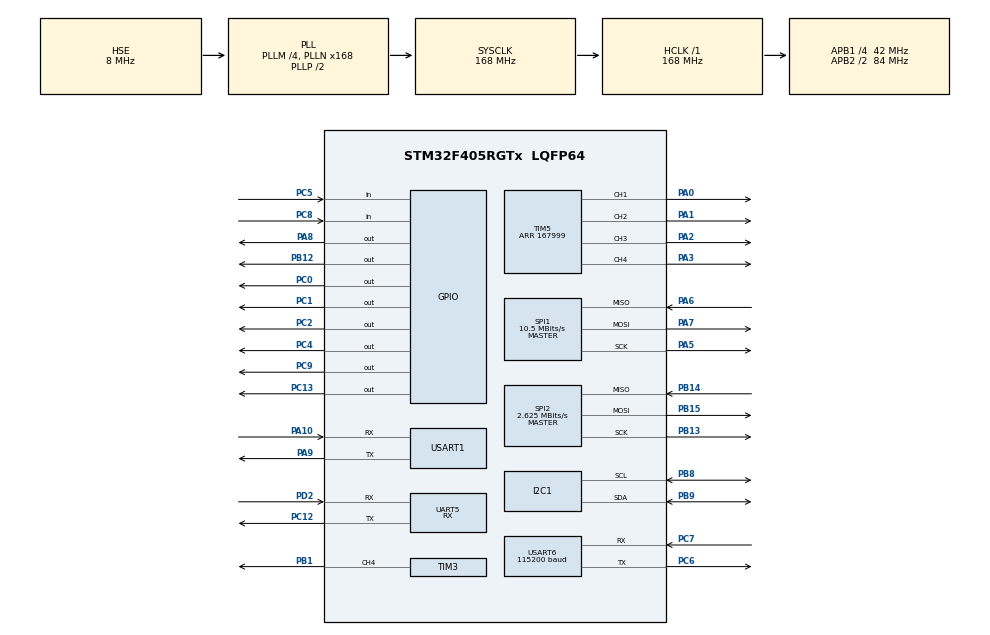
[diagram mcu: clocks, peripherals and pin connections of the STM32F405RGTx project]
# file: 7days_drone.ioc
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I2C1.I2C_Mode=I2C_Fast
Mcu.Family=STM32F4
Mcu.Name=STM32F405RGTx
Mcu.Package=LQFP64
NVIC.PriorityGroup=NVIC_PRIORITYGROUP_4
NVIC.TIM7_IRQn=true\:0\:0\:false\:false\:true\:true\:true
NVIC.UART5_IRQn=true\:0\:0\:false\:false\:true\:true\:true
NVIC.USART1_IRQn=true\:0\:0\:false\:false\:true\:true\:true
NVIC.USART6_IRQn=true\:0\:0\:false\:false\:true\:true\:true
PA0-WKUP.Signal=S_TIM5_CH1
PA1.Signal=S_TIM5_CH2
PA10.Mode=Asynchronous
PA10.Signal=USART1_RX
PA2.Signal=S_TIM5_CH3
PA3.Signal=S_TIM5_CH4
PA5.Mode=Full_Duplex_Master
PA5.Signal=SPI1_SCK
PA6.Mode=Full_Duplex_Master
PA6.Signal=SPI1_MISO
PA7.Mode=Full_Duplex_Master
PA7.Signal=SPI1_MOSI
PA8.Signal=GPIO_Output
PA9.Mode=Asynchronous
PA9.Signal=USART1_TX
PB1.Signal=S_TIM3_CH4
PB12.Signal=GPIO_Output
PB13.Mode=Full_Duplex_Master
PB13.Signal=SPI2_SCK
PB14.Mode=Full_Duplex_Master
PB14.Signal=SPI2_MISO
PB15.Mode=Full_Duplex_Master
PB15.Signal=SPI2_MOSI
PB8.Mode=I2C
PB8.Signal=I2C1_SCL
PB9.Mode=I2C
PB9.Signal=I2C1_SDA
PC0.Signal=GPIO_Output
PC1.Signal=GPIO_Output
PC12.Mode=Asynchronous
PC12.Signal=UART5_TX
PC13-ANTI_TAMP.PinState=GPIO_PIN_SET
PC13-ANTI_TAMP.Signal=GPIO_Output
PC2.Signal=GPIO_Output
PC4.Signal=GPIO_Output
PC5.Signal=GPIO_Input
PC6.Mode=Asynchronous
PC6.Signal=USART6_TX
PC7.Mode=Asynchronous
PC7.Signal=USART6_RX
PC8.Signal=GPIO_Input
PC9.Signal=GPIO_Output
PD2.Mode=Asynchronous
PD2.Signal=UART5_RX
PH0-OSC_IN.Mode=HSE-External-Oscillator
PH0-OSC_IN.Signal=RCC_OSC_IN
PH1-OSC_OUT.Mode=HSE-External-Oscillator
PH1-OSC_OUT.Signal=RCC_OSC_OUT
ProjectManager.HeapSize=0x200
ProjectManager.StackSize=0x400
ProjectManager.TargetToolchain=STM32CubeIDE
RCC.48MHZClocksFreq_Value=84000000
RCC.AHBFreq_Value=168000000
RCC.APB1CLKDivider=RCC_HCLK_DIV4
RCC.APB1Freq_Value=42000000
RCC.APB1TimFreq_Value=84000000
RCC.APB2CLKDivider=RCC_HCLK_DIV2
RCC.APB2Freq_Value=84000000
RCC.APB2TimFreq_Value=168000000
RCC.CortexFreq_Value=168000000
RCC.HCLKFreq_Value=168000000
RCC.HSE_VALUE=8000000
RCC.HSI_VALUE=16000000
RCC.LSE_VALUE=32768
RCC.PLLM=4
RCC.PLLN=168
RCC.PLLSourceVirtual=RCC_PLLSOURCE_HSE
RCC.SYSCLKFreq_VALUE=168000000
RCC.SYSCLKSource=RCC_SYSCLKSOURCE_PLLCLK
RCC.VCOOutputFreq_Value=336000000
SH.S_TIM3_CH4.0=TIM3_CH4,PWM Generation4 CH4
SH.S_TIM5_CH1.0=TIM5_CH1,PWM Generation1 CH1
SH.S_TIM5_CH2.0=TIM5_CH2,PWM Generation2 CH2
SH.S_TIM5_CH3.0=TIM5_CH3,PWM Generation3 CH3
SH.S_TIM5_CH4.0=TIM5_CH4,PWM Generation4 CH4
SPI1.BaudRatePrescaler=SPI_BAUDRATEPRESCALER_8
SPI1.CLKPhase=SPI_PHASE_2EDGE
SPI1.CLKPolarity=SPI_POLARITY_HIGH
SPI1.CalculateBaudRate=10.5 MBits/s
SPI1.Direction=SPI_DIRECTION_2LINES
SPI1.Mode=SPI_MODE_MASTER
SPI1.VirtualType=VM_MASTER
SPI2.BaudRatePrescaler=SPI_BAUDRATEPRESCALER_16
SPI2.CLKPhase=SPI_PHASE_2EDGE
SPI2.CLKPolarity=SPI_POLARITY_HIGH
SPI2.CalculateBaudRate=2.625 MBits/s
SPI2.Direction=SPI_DIRECTION_2LINES
SPI2.Mode=SPI_MODE_MASTER
SPI2.VirtualType=VM_MASTER
TIM3.AutoReloadPreload=TIM_AUTORELOAD_PRELOAD_ENABLE
TIM3.Channel-PWM\ Generation4\ CH4=TIM_CHANNEL_4
TIM3.OCFastMode_PWM-PWM\ Generation4\ CH4=TIM_OCFAST_ENABLE
TIM3.Period=20
TIM3.Prescaler=999
TIM3.Pulse-PWM\ Generation4\ CH4=10
TIM5.AutoReloadPreload=TIM_AUTORELOAD_PRELOAD_ENABLE
TIM5.Channel-PWM\ Generation1\ CH1=TIM_CHANNEL_1
TIM5.Channel-PWM\ Generation2\ CH2=TIM_CHANNEL_2
TIM5.Channel-PWM\ Generation3\ CH3=TIM_CHANNEL_3
TIM5.Channel-PWM\ Generation4\ CH4=TIM_CHANNEL_4
TIM5.OCFastMode_PWM-PWM\ Generation1\ CH1=TIM_OCFAST_ENABLE
TIM5.OCFastMode_PWM-PWM\ Generation2\ CH2=TIM_OCFAST_ENABLE
TIM5.OCFastMode_PWM-PWM\ Generation3\ CH3=TIM_OCFAST_ENABLE
TIM5.OCFastMode_PWM-PWM\ Generation4\ CH4=TIM_OCFAST_ENABLE
TIM5.Period=167999
TIM5.Pulse-PWM\ Generation1\ CH1=0
TIM5.Pulse-PWM\ Generation2\ CH2=0
TIM5.Pulse-PWM\ Generation3\ CH3=0
TIM5.Pulse-PWM\ Generation4\ CH4=0
TIM7.AutoReloadPreload=TIM_AUTORELOAD_PRELOAD_ENABLE
TIM7.Period=1
TIM7.Prescaler=41999
UART5.Mode=MODE_RX
UART5.VirtualMode=Asynchronous
USART1.VirtualMode=VM_ASYNC
USART6.BaudRate=115200
USART6.VirtualMode=VM_ASYNC
VP_TIM3_VS_ClockSourceINT.Mode=Internal
VP_TIM5_VS_ClockSourceINT.Mode=Internal
VP_TIM7_VS_ClockSourceINT.Mode=Enable_Timer
board=custom

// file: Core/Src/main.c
/* USER CODE BEGIN Header */
/**
 ******************************************************************************
 * @file           : main.c
 * @brief          : Main program body
 ******************************************************************************
 * @attention
 *
 * Copyright (c) 2023 STMicroelectronics.
 * All rights reserved.
 *
 * This software is licensed under terms that can be found in the LICENSE file
 * in the root directory of this software component.
 * If no LICENSE file comes with this software, it is provided AS-IS.
 *
 ******************************************************************************
 */
/* USER CODE END Header */
#include "main.h"
#include "i2c.h"
#include "spi.h"
#include "tim.h"
#include "usart.h"
#include "gpio.h"

/* USER CODE BEGIN Includes */
#include "BNO080.h"
#include "Quaternion.h"
#include "ICM20602.h"
#include "FS-iA6B.h"
#include "AT24C08.h"
#include <string.h>
#include "PID control.h"
/* USER CODE END Includes */

/* USER CODE BEGIN PTD */
int _write(int file, char* p, int len)
{
	for(int i = 0; i<len; i++)
	{
		while(!LL_USART_IsActiveFlag_TXE(USART6));
		LL_USART_TransmitData8(USART6, *(p+i));
		HAL_Delay(1);

	}
	return len;
}
/* USER CODE END PTD */

/* USER CODE BEGIN PD */
#define CCR_MAX 167999
#define CCR_MIN 87000
#define MOTOR_MAX 167000
#define MOTOR_MIN 89000
/* USER CODE END PD */

/* USER CODE BEGIN PV */
extern uint8_t uart6_rx_flag;
extern uint8_t uart6_rx_data;

extern uint8_t ibus_rx_buf[32];
extern uint8_t ibus_rx_cplt_flag;

extern uint8_t uart1_rx_data;

extern uint8_t tim7_1ms_flag;
extern uint8_t tim7_2ms_flag;
extern uint8_t tim7_10ms_flag;
extern uint8_t tim7_20ms_flag;
extern uint8_t tim7_100ms_flag;
extern uint8_t tim7_1000ms_flag;

uint8_t telemetry_tx_buf[20];
uint8_t telemetry_rx_buf[20];
uint8_t telemetry_rx_cplt_flag;

unsigned char failsafe_flag = 0;

/* USER CODE END PV */

void SystemClock_Config(void);
/* USER CODE BEGIN PFP */
int Is_iBus_Throttle_Min(void);
void ESC_Calibration(void);
int Is_iBus_Received(void);
void BNO080_Calibration(void);
void Encode_Msg_AHRS(unsigned char* telemetry_tx_buf);
void Encode_Msg_PID_Gain(unsigned char* telemetry_tx_buf, unsigned char id, float p, float i, float d);
void Receive_Pid_Gain(void);
/* USER CODE END PFP */

int main(void)
{
	/* USER CODE BEGIN 1 */
	float q[4];
	float quatRadianAccuracy;

	float gyro_x_offset = 0;
	float gyro_y_offset = 0;
	float gyro_z_offset = 0;

	float roll_offset = 0;
	float pitch_offset = 0;

	unsigned char motor_arming_flag = 0;
	unsigned short iBus_SwA_Prev = 0;
	unsigned char iBus_rx_cnt = 0;

	unsigned int ccr1 ,ccr2, ccr3, ccr4;
	float yaw_heading_reference;
	/* USER CODE END 1 */

	/* MCU Configuration--------------------------------------------------------*/

	/* Reset of all peripherals, Initializes the Flash interface and the Systick. */
	HAL_Init();

	/* Configure the system clock */
	SystemClock_Config();

	/* Initialize all configured peripherals */
	MX_GPIO_Init();
	MX_TIM3_Init();
	MX_USART6_UART_Init();
	MX_SPI2_Init();
	MX_SPI1_Init();
	MX_UART5_Init();
	MX_TIM5_Init();
	MX_I2C1_Init();
	MX_USART1_UART_Init();
	MX_TIM7_Init();
	/* USER CODE BEGIN 2 */
	LL_TIM_EnableCounter(TIM3); //Buzzer
	LL_TIM_EnableCounter(TIM7); //1kHz loop
	LL_TIM_EnableIT_UPDATE(TIM7);

	LL_USART_EnableIT_RXNE(USART6); //Debug UART
	LL_USART_EnableIT_RXNE(UART5); //FS-iA6B

	LL_TIM_EnableCounter(TIM5); //motor PWM
	LL_TIM_CC_EnableChannel(TIM5, LL_TIM_CHANNEL_CH1);
	LL_TIM_CC_EnableChannel(TIM5, LL_TIM_CHANNEL_CH2);
	LL_TIM_CC_EnableChannel(TIM5, LL_TIM_CHANNEL_CH3);
	LL_TIM_CC_EnableChannel(TIM5, LL_TIM_CHANNEL_CH4);

	HAL_UART_Receive_IT(&huart1, &uart1_rx_data, 1); //Telemetry

	TIM3->PSC = 1000;
	LL_TIM_CC_EnableChannel(TIM3, LL_TIM_CHANNEL_CH4);
	HAL_Delay(60);
	LL_TIM_CC_DisableChannel(TIM3, LL_TIM_CHANNEL_CH4);
	HAL_Delay(60);
	LL_TIM_CC_EnableChannel(TIM3, LL_TIM_CHANNEL_CH4);
	HAL_Delay(60);
	LL_TIM_CC_DisableChannel(TIM3, LL_TIM_CHANNEL_CH4);
	HAL_Delay(60);

	printf("Checking sensor connection!\n");
	if(BNO080_Initialization() != 0)
	{
		LL_TIM_CC_EnableChannel(TIM3, LL_TIM_CHANNEL_CH4);

		TIM3->PSC = 1000;
		HAL_Delay(100);
		TIM3->PSC = 1500;
		HAL_Delay(100);
		TIM3->PSC = 2000;
		HAL_Delay(100);

		LL_TIM_CC_DisableChannel(TIM3, LL_TIM_CHANNEL_CH4);

		printf("\nBNO080 failed. Program shutting down...");
		while(1)
		{
			LL_TIM_CC_DisableChannel(TIM3, LL_TIM_CHANNEL_CH4);
			LL_GPIO_TogglePin(GPIOC, LL_GPIO_PIN_0);
			HAL_Delay(200);
			LL_TIM_CC_EnableChannel(TIM3, LL_TIM_CHANNEL_CH4);
			LL_GPIO_TogglePin(GPIOC, LL_GPIO_PIN_0);
			HAL_Delay(200);
		}
	}

	//BNO080_enableRotationVector(2500);
	BNO080_enableGameRotationVector(2500);

	if(ICM20602_Initialization() !=0 )
	{
		LL_TIM_CC_EnableChannel(TIM3, LL_TIM_CHANNEL_CH4); //Enable Timer Counting

		TIM3->PSC = 1000;
		HAL_Delay(100);
		TIM3->PSC = 1500;
		HAL_Delay(100);
		TIM3->PSC = 2000;
		HAL_Delay(100);

		LL_TIM_CC_DisableChannel(TIM3, LL_TIM_CHANNEL_CH4);

		printf("\nICM20602 failed. Program shutting down...");
		while(1)
		{
			LL_TIM_CC_DisableChannel(TIM3, LL_TIM_CHANNEL_CH4);
			LL_GPIO_TogglePin(GPIOC, LL_GPIO_PIN_1);
			HAL_Delay(200);
			LL_TIM_CC_EnableChannel(TIM3, LL_TIM_CHANNEL_CH4);
			LL_GPIO_TogglePin(GPIOC, LL_GPIO_PIN_1);
			HAL_Delay(200);
		}
	}

	printf("All sensor OK!\n\n");

	// Correct ICM20602 bias
	//	ICM20602_Writebyte(0x13, (gyro_x_offset*-2)>>8);
	//	ICM20602_Writebyte(0x14, (gyro_x_offset*-2));
	//
	//	ICM20602_Writebyte(0x15, (gyro_y_offset*-2)>>8);
	//	ICM20602_Writebyte(0x16, (gyro_y_offset*-2));
	//
	//	ICM20602_Writebyte(0x17, (gyro_z_offset*-2)>>8);
	//	ICM20602_Writebyte(0x18, (gyro_z_offset*-2));

	printf("Loading PID Gain...\n");

	/*************Save Initial Gain into EEPROM**************/
	//Roll
	EP_PIDGain_Read(0, &roll.in.kp, &roll.in.ki, &roll.in.kd);
	Encode_Msg_PID_Gain(&telemetry_tx_buf[0], 0, roll.in.kp, roll.in.ki, roll.in.kd);
	HAL_UART_Transmit(&huart1, &telemetry_tx_buf[0], 20, 10);

	EP_PIDGain_Read(1, &roll.out.kp, &roll.out.ki, &roll.out.kd);
	Encode_Msg_PID_Gain(&telemetry_tx_buf[0], 1, roll.out.kp, roll.out.ki, roll.out.kd);
	HAL_UART_Transmit(&huart1, &telemetry_tx_buf[0], 20, 10);
	//Pitch
	EP_PIDGain_Read(2, &pitch.in.kp, &pitch.in.ki, &pitch.in.kd);
	Encode_Msg_PID_Gain(&telemetry_tx_buf[0], 2, pitch.in.kp, pitch.in.ki, pitch.in.kd);
	HAL_UART_Transmit(&huart1, &telemetry_tx_buf[0], 20, 10);

	EP_PIDGain_Read(3, &pitch.out.kp, &pitch.out.ki, &pitch.out.kd);
	Encode_Msg_PID_Gain(&telemetry_tx_buf[0], 3, pitch.out.kp, pitch.out.ki, pitch.out.kd);
	HAL_UART_Transmit(&huart1, &telemetry_tx_buf[0], 20, 10);
	//Yaw
	EP_PIDGain_Read(4, &yaw_heading.kp, &yaw_heading.ki, &yaw_heading.kd);
	Encode_Msg_PID_Gain(&telemetry_tx_buf[0], 4, yaw_heading.kp, yaw_heading.ki, yaw_heading.kd);
	HAL_UART_Transmit(&huart1, &telemetry_tx_buf[0], 20, 10);

	EP_PIDGain_Read(5, &yaw_rate.kp, &yaw_rate.ki, &yaw_rate.kd);
	Encode_Msg_PID_Gain(&telemetry_tx_buf[0], 5, yaw_rate.kp, yaw_rate.ki, yaw_rate.kd);
	HAL_UART_Transmit(&huart1, &telemetry_tx_buf[0], 20, 10);

	/*Receiver Detection*/
	while(Is_iBus_Received() == 0)
	{
		LL_TIM_CC_EnableChannel(TIM3, LL_TIM_CHANNEL_CH4);

		TIM3->PSC = 3000;
		HAL_Delay(200);
		LL_TIM_CC_DisableChannel(TIM3, LL_TIM_CHANNEL_CH4);
		HAL_Delay(200);
	}

	/**************************ESC Calibration***********************************/
	if(iBus.SwC == 2000)
	{
		LL_TIM_CC_EnableChannel(TIM3, LL_TIM_CHANNEL_CH4);

		TIM3->PSC = 1500;
		HAL_Delay(200);
		TIM3->PSC = 2000;
		HAL_Delay(200);
		TIM3->PSC = 1500;
		HAL_Delay(200);
		TIM3->PSC = 2000;
		HAL_Delay(200);
		LL_TIM_CC_DisableChannel(TIM3, LL_TIM_CHANNEL_CH4);

		ESC_Calibration();
		while(iBus.SwC != 1000)
		{
			Is_iBus_Received();
			LL_TIM_CC_EnableChannel(TIM3, LL_TIM_CHANNEL_CH4);

			TIM3->PSC = 1500;
			HAL_Delay(200);
			TIM3->PSC = 2000;
			HAL_Delay(200);
			LL_TIM_CC_DisableChannel(TIM3, LL_TIM_CHANNEL_CH4);
		}
	}
	/**************************BNO080 Calibration********************************/
	else if(iBus.SwC == 1500)
	{
		LL_TIM_CC_EnableChannel(TIM3, LL_TIM_CHANNEL_CH4); //Enable Timer Counting
		TIM3->PSC = 1500;
		HAL_Delay(500);
		TIM3->PSC = 2000;
		HAL_Delay(500);
		TIM3->PSC = 1500;
		HAL_Delay(500);
		TIM3->PSC = 2000;
		HAL_Delay(500);
		LL_TIM_CC_DisableChannel(TIM3, LL_TIM_CHANNEL_CH4);

		BNO080_Calibration();
		while(iBus.SwC != 1000)
		{
			Is_iBus_Received();

			LL_TIM_CC_EnableChannel(TIM3, LL_TIM_CHANNEL_CH4);
			TIM3->PSC = 1500;
			HAL_Delay(200);
			TIM3->PSC = 2000;
			HAL_Delay(200);
			LL_TIM_CC_DisableChannel(TIM3, LL_TIM_CHANNEL_CH4);
		}
	}
	/*********************Check Throttle value is minimum************************/
	while(Is_iBus_Throttle_Min() == 0 || iBus.SwA == 2000)
	{
		LL_TIM_CC_EnableChannel(TIM3, LL_TIM_CHANNEL_CH4);

		TIM3->PSC = 1000;
		HAL_Delay(70);
		LL_TIM_CC_DisableChannel(TIM3, LL_TIM_CHANNEL_CH4);
		HAL_Delay(70);
	}

	HAL_Delay(1000);
	/*ICM20602 Offset*/
#define COUNT 25
#define NOTUSE 3
	printf("BNO080\n");
	for(int i=0; i<COUNT; i++)
	{
		while(!BNO080_dataAvailable());
		q[0] = BNO080_getQuatI();
		q[1] = BNO080_getQuatJ();
		q[2] = BNO080_getQuatK();
		q[3] = BNO080_getQuatReal();
		quatRadianAccuracy = BNO080_getQuatRadianAccuracy();
		Quaternion_Update(&q[0]);

		BNO080_Roll = -BNO080_Roll;
		BNO080_Pitch = -BNO080_Pitch;

		if(i >= NOTUSE)//first three data is set to 0', 180'
		{
			printf("%f\t%f\n",BNO080_Roll,BNO080_Pitch);
			roll_offset  += BNO080_Roll;
			pitch_offset += BNO080_Pitch;
		}
	}

	roll_offset  /= (COUNT-NOTUSE);
	pitch_offset /= (COUNT-NOTUSE);

	printf("ICM20602\n");
	for(int i=0; i<COUNT; i++)
	{
		while(!ICM20602_DataReady());
		ICM20602_Get3AxisGyroRawData(&ICM20602.gyro_x_raw);

		ICM20602.gyro_x = ICM20602.gyro_x_raw * 2000.f / 32768.f;
		ICM20602.gyro_y = ICM20602.gyro_y_raw * 2000.f / 32768.f;
		ICM20602.gyro_z = ICM20602.gyro_z_raw * 2000.f / 32768.f;

		ICM20602.gyro_x = -ICM20602.gyro_x;
		ICM20602.gyro_z = -ICM20602.gyro_z;

		gyro_x_offset += ICM20602.gyro_x;
		gyro_y_offset += ICM20602.gyro_y;
		gyro_z_offset += ICM20602.gyro_z;

		printf("%f\t %f\t %f\n",ICM20602.gyro_x,ICM20602.gyro_y,ICM20602.gyro_z);
	}
	gyro_x_offset /= COUNT;
	gyro_y_offset /= COUNT;
	gyro_z_offset /= COUNT;

//	roll_offset  = 0.0f;
//	pitch_offset = 0.0f;

	//ready to fly buzzer
	LL_TIM_CC_EnableChannel(TIM3, LL_TIM_CHANNEL_CH4);
	TIM3->PSC = 2000;
	HAL_Delay(100);
	TIM3->PSC = 1500;
	HAL_Delay(100);
	TIM3->PSC = 1000;
	HAL_Delay(100);
	LL_TIM_CC_DisableChannel(TIM3, LL_TIM_CHANNEL_CH4);
	printf("Start\n");
	/* USER CODE END 2 */

	/* Infinite loop */
	while (1)
	{

		/* USER CODE BEGIN 3 */

		Receive_Pid_Gain();
		if(tim7_2ms_flag==1)
		{
			//printf("%d, %d, %d, %d\n",TIM5->CCR1,TIM5->CCR2,TIM5->CCR3,TIM5->CCR4);
			tim7_2ms_flag = 0;
			Double_Roll_Pitch_PID_Calculation(&pitch, (iBus.RV - 1500)*0.07f, BNO080_Pitch, ICM20602.gyro_x);
			Double_Roll_Pitch_PID_Calculation(&roll, (iBus.RH - 1500)*0.07f, BNO080_Roll, ICM20602.gyro_y);
			if(iBus.LV < 1030 || motor_arming_flag == 0)
			{
				Reset_All_PID_Integrator();
			}

			if(iBus.LH < 1492 || iBus.LH > 1508)
			{
				yaw_heading_reference = BNO080_Yaw;
				Single_Yaw_Rate_PID_Calculation(&yaw_rate, (iBus.LH-1500), ICM20602.gyro_z);
				ccr1 = CCR_MIN + (iBus.LV - 1000) * (CCR_MAX-CCR_MIN)/1000 - pitch.in.pid_result + roll.in.pid_result -yaw_rate.pid_result;
				ccr2 = CCR_MIN + (iBus.LV - 1000) * (CCR_MAX-CCR_MIN)/1000 + pitch.in.pid_result + roll.in.pid_result +yaw_rate.pid_result;
				ccr3 = CCR_MIN + (iBus.LV - 1000) * (CCR_MAX-CCR_MIN)/1000 + pitch.in.pid_result - roll.in.pid_result -yaw_rate.pid_result;
				ccr4 = CCR_MIN + (iBus.LV - 1000) * (CCR_MAX-CCR_MIN)/1000 - pitch.in.pid_result - roll.in.pid_result +yaw_rate.pid_result;
			}
			else
			{
				Single_Yaw_Heading_PID_Calculation(&yaw_heading, yaw_heading_reference, BNO080_Yaw, ICM20602.gyro_z);
				ccr1 = CCR_MIN + (iBus.LV - 1000) * (CCR_MAX-CCR_MIN)/1000 - pitch.in.pid_result + roll.in.pid_result -yaw_heading.pid_result;
				ccr2 = CCR_MIN + (iBus.LV - 1000) * (CCR_MAX-CCR_MIN)/1000 + pitch.in.pid_result + roll.in.pid_result +yaw_heading.pid_result;
				ccr3 = CCR_MIN + (iBus.LV - 1000) * (CCR_MAX-CCR_MIN)/1000 + pitch.in.pid_result - roll.in.pid_result -yaw_heading.pid_result;
				ccr4 = CCR_MIN + (iBus.LV - 1000) * (CCR_MAX-CCR_MIN)/1000 - pitch.in.pid_result - roll.in.pid_result +yaw_heading.pid_result;
			}

		}

		/********************* Motor Arming State ************************/
		if(iBus.SwA == 2000 && iBus_SwA_Prev != 2000)
		{
			if(iBus.LV < 1030)
			{
				motor_arming_flag = 1;
				yaw_heading_reference = BNO080_Yaw;
			}
			else
			{
				while(Is_iBus_Throttle_Min() == 0 || iBus.SwA == 2000)
				{
					LL_TIM_CC_EnableChannel(TIM3, LL_TIM_CHANNEL_CH4);
					TIM3->PSC = 1000;
					HAL_Delay(70);
					LL_TIM_CC_DisableChannel(TIM3, LL_TIM_CHANNEL_CH4);
					HAL_Delay(70);
				}
			}
		}
		iBus_SwA_Prev = iBus.SwA;

		if(iBus.SwA != 2000)
		{
			motor_arming_flag = 0;
		}

		// Write Motor PWM
		if(motor_arming_flag == 1)
		{
			//printf("arm\n");
			if(failsafe_flag == 0)
			{
				if(iBus.LV > 1030)
				{
					TIM5->CCR1 = ccr1 > MOTOR_MAX ? MOTOR_MAX : ccr1 < MOTOR_MIN ? MOTOR_MIN : ccr1;
					TIM5->CCR2 = ccr2 > MOTOR_MAX ? MOTOR_MAX : ccr2 < MOTOR_MIN ? MOTOR_MIN : ccr2;
					TIM5->CCR3 = ccr3 > MOTOR_MAX ? MOTOR_MAX : ccr3 < MOTOR_MIN ? MOTOR_MIN : ccr3;
					TIM5->CCR4 = ccr4 > MOTOR_MAX ? MOTOR_MAX : ccr4 < MOTOR_MIN ? MOTOR_MIN : ccr4;
				}
				else
				{
					//printf("motor min\n");
					TIM5->CCR1 = MOTOR_MIN;
					TIM5->CCR2 = MOTOR_MIN;
					TIM5->CCR3 = MOTOR_MIN;
					TIM5->CCR4 = MOTOR_MIN;
				}
			}
			else
			{
				TIM5->CCR1 = CCR_MIN;
				TIM5->CCR2 = CCR_MIN;
				TIM5->CCR3 = CCR_MIN;
				TIM5->CCR4 = CCR_MIN;
			}
		}
		else
		{
			TIM5->CCR1 = CCR_MIN;
			TIM5->CCR2 = CCR_MIN;
			TIM5->CCR3 = CCR_MIN;
			TIM5->CCR4 = CCR_MIN;
		}

		if(tim7_20ms_flag == 1)
		{
			tim7_20ms_flag = 0;
			Encode_Msg_AHRS(&telemetry_tx_buf[0]);
			HAL_UART_Transmit_IT(&huart1, &telemetry_tx_buf[0], 20);
		}

		if(BNO080_dataAvailable() == 1)
		{
			q[0] = BNO080_getQuatI();
			q[1] = BNO080_getQuatJ();
			q[2] = BNO080_getQuatK();
			q[3] = BNO080_getQuatReal();
			quatRadianAccuracy = BNO080_getQuatRadianAccuracy();

			Quaternion_Update(&q[0]);

			BNO080_Roll = -BNO080_Roll;
			BNO080_Pitch = -BNO080_Pitch;

			BNO080_Roll -= roll_offset;
			BNO080_Pitch -= pitch_offset;

			//printf("%f,%f,%f\n",(BNO080_Roll),(BNO080_Pitch),(BNO080_Yaw));
		}

		if(ICM20602_DataReady()==1)
		{
			ICM20602_Get3AxisGyroRawData(&ICM20602.gyro_x_raw);

			ICM20602.gyro_x = ICM20602.gyro_x_raw * 2000.f / 32768.f;
			ICM20602.gyro_y = ICM20602.gyro_y_raw * 2000.f / 32768.f;
			ICM20602.gyro_z = ICM20602.gyro_z_raw * 2000.f / 32768.f;

			ICM20602.gyro_x = -ICM20602.gyro_x;
			ICM20602.gyro_z = -ICM20602.gyro_z;

			ICM20602.gyro_x -= gyro_x_offset;
			ICM20602.gyro_y -= gyro_y_offset;
			ICM20602.gyro_z -= gyro_z_offset;

			//printf("%f,%f,%f\n",ICM20602.gyro_x,ICM20602.gyro_y,ICM20602.gyro_z);
		}

		if(ibus_rx_cplt_flag == 1)
		{
			ibus_rx_cplt_flag = 0;

			if(iBus_Check_CHKSUM(&ibus_rx_buf[0], 32) == 1)
			{
				iBus_Parsing(&ibus_rx_buf[0], &iBus);
				iBus_rx_cnt++;
				if(iBus_isActiveFailsafe(&iBus) == 1) //Fail safe state
				{
					failsafe_flag = 1;
				}
				else
				{
					failsafe_flag = 0;
				}
			}
		}

		// FC - Receiver failsafe
		if(tim7_1000ms_flag == 1)
		{
			tim7_1000ms_flag = 0;
			if(iBus_rx_cnt == 0)
			{
				failsafe_flag = 2;
			}
			iBus_rx_cnt = 0;
		}

		if(failsafe_flag == 1 || failsafe_flag ==2)
		{
			LL_TIM_CC_EnableChannel(TIM3, LL_TIM_CHANNEL_CH4); //Buzzer On
		}
		else
		{
			LL_TIM_CC_DisableChannel(TIM3, LL_TIM_CHANNEL_CH4); //Buzzer Off
		}
	}
	/* USER CODE END 3 */
}

void SystemClock_Config(void)
{
	RCC_OscInitTypeDef RCC_OscInitStruct = {0};
	RCC_ClkInitTypeDef RCC_ClkInitStruct = {0};

	/** Configure the main internal regulator output voltage
	 */
	__HAL_RCC_PWR_CLK_ENABLE();
	__HAL_PWR_VOLTAGESCALING_CONFIG(PWR_REGULATOR_VOLTAGE_SCALE1);
	/** Initializes the RCC Oscillators according to the specified parameters
	 * in the RCC_OscInitTypeDef structure.
	 */
	RCC_OscInitStruct.OscillatorType = RCC_OSCILLATORTYPE_HSE;
	RCC_OscInitStruct.HSEState = RCC_HSE_ON;
	RCC_OscInitStruct.PLL.PLLState = RCC_PLL_ON;
	RCC_OscInitStruct.PLL.PLLSource = RCC_PLLSOURCE_HSE;
	RCC_OscInitStruct.PLL.PLLM = 4;
	RCC_OscInitStruct.PLL.PLLN = 168;
	RCC_OscInitStruct.PLL.PLLP = RCC_PLLP_DIV2;
	RCC_OscInitStruct.PLL.PLLQ = 4;
	if (HAL_RCC_OscConfig(&RCC_OscInitStruct) != HAL_OK)
	{
		Error_Handler();
	}
	/** Initializes the CPU, AHB and APB buses clocks
	 */
	RCC_ClkInitStruct.ClockType = RCC_CLOCKTYPE_HCLK|RCC_CLOCKTYPE_SYSCLK
			|RCC_CLOCKTYPE_PCLK1|RCC_CLOCKTYPE_PCLK2;
	RCC_ClkInitStruct.SYSCLKSource = RCC_SYSCLKSOURCE_PLLCLK;
	RCC_ClkInitStruct.AHBCLKDivider = RCC_SYSCLK_DIV1;
	RCC_ClkInitStruct.APB1CLKDivider = RCC_HCLK_DIV4;
	RCC_ClkInitStruct.APB2CLKDivider = RCC_HCLK_DIV2;

	if (HAL_RCC_ClockConfig(&RCC_ClkInitStruct, FLASH_LATENCY_5) != HAL_OK)
	{
		Error_Handler();
	}
}

/* USER CODE BEGIN 4 */
int Is_iBus_Throttle_Min(void)
{
	if(ibus_rx_cplt_flag == 1)
	{
		ibus_rx_cplt_flag = 0;
		if(iBus_Check_CHKSUM(&ibus_rx_buf[0], 32) == 1)
		{
			iBus_Parsing(&ibus_rx_buf[0], &iBus);
			if(iBus.LV < 1030) return 1;
		}
	}

	return 0;
}

void ESC_Calibration(void)
{
	TIM5->CCR1 = CCR_MAX;
	TIM5->CCR2 = CCR_MAX;
	TIM5->CCR3 = CCR_MAX;
	TIM5->CCR4 = CCR_MAX;
	HAL_Delay(3000);
	TIM5->CCR1 = CCR_MIN;
	TIM5->CCR2 = CCR_MIN;
	TIM5->CCR3 = CCR_MIN;
	TIM5->CCR4 = CCR_MIN;
	HAL_Delay(3000);
}

int Is_iBus_Received(void)
{
	if(ibus_rx_cplt_flag == 1)
	{
		ibus_rx_cplt_flag = 0;
		if(iBus_Check_CHKSUM(&ibus_rx_buf[0], 32) == 1)
		{
			iBus_Parsing(&ibus_rx_buf[0], &iBus);
			return 1;
		}
	}

	return 0;
}

void BNO080_Calibration(void)
{
	//Resets BNO080 to disable All output
	BNO080_Initialization();

	//BNO080/BNO085 Configuration
	//Enable dynamic calibration for accelerometer, gyroscope, and magnetometer
	//Enable Game Rotation Vector output
	//Enable Magnetic Field output
	BNO080_calibrateAll(); //Turn on cal for Accel, Gyro, and Mag
	BNO080_enableGameRotationVector(20000); //Send data update every 20ms (50Hz)
	BNO080_enableMagnetometer(20000); //Send data update every 20ms (50Hz)

	//Once magnetic field is 2 or 3, run the Save DCD Now command
	printf("Calibrating BNO080. Pull up FS-i6 SWC to end calibration and save to flash\n");
	printf("Output in form x, y, z, in uTesla\n\n");

	//while loop for calibration procedure
	//Iterates until iBus.SwC is mid point (1500)
	//Calibration procedure should be done while this loop is in iteration.
	while(iBus.SwC == 1500)
	{
		if(BNO080_dataAvailable() == 1)
		{
			//Observing the status bit of the magnetic field output
			float x = BNO080_getMagX();
			float y = BNO080_getMagY();
			float z = BNO080_getMagZ();
			unsigned char accuracy = BNO080_getMagAccuracy();

			float quatI = BNO080_getQuatI();
			float quatJ = BNO080_getQuatJ();
			float quatK = BNO080_getQuatK();
			float quatReal = BNO080_getQuatReal();
			unsigned char sensorAccuracy = BNO080_getQuatAccuracy();

			printf("%f,%f,%f,", x, y, z);
			if (accuracy == 0) printf("Unreliable\t");
			else if (accuracy == 1) printf("Low\t");
			else if (accuracy == 2) printf("Medium\t");
			else if (accuracy == 3) printf("High\t");

			printf("\t%f,%f,%f,%f,", quatI, quatI, quatI, quatReal);
			if (sensorAccuracy == 0) printf("Unreliable\n");
			else if (sensorAccuracy == 1) printf("Low\n");
			else if (sensorAccuracy == 2) printf("Medium\n");
			else if (sensorAccuracy == 3) printf("High\n");

			//Turn the LED and buzzer on when both accuracy and sensorAccuracy is high
			if(accuracy == 3 && sensorAccuracy == 3)
			{
				LL_GPIO_SetOutputPin(GPIOC, LL_GPIO_PIN_0 | LL_GPIO_PIN_1 | LL_GPIO_PIN_2);
				TIM3->PSC = 65000; //Very low frequency
				LL_TIM_CC_EnableChannel(TIM3, LL_TIM_CHANNEL_CH4);
			}
			else
			{
				LL_GPIO_ResetOutputPin(GPIOC, LL_GPIO_PIN_0 | LL_GPIO_PIN_1 | LL_GPIO_PIN_2);
				LL_TIM_CC_DisableChannel(TIM3, LL_TIM_CHANNEL_CH4);
			}
		}

		Is_iBus_Received(); //Refreshes iBus Data for iBus.SwC
		HAL_Delay(100);
	}

	//Ends the loop when iBus.SwC is not mid point
	//Turn the LED and buzzer off
	LL_GPIO_ResetOutputPin(GPIOC, LL_GPIO_PIN_0 | LL_GPIO_PIN_1 | LL_GPIO_PIN_2);
	LL_TIM_CC_DisableChannel(TIM3, LL_TIM_CHANNEL_CH4);

	//Saves the current dynamic calibration data (DCD) to memory
	//Sends command to get the latest calibration status
	BNO080_saveCalibration();
	BNO080_requestCalibrationStatus();

	//Wait for calibration response, timeout if no response
	int counter = 100;
	while(1)
	{
		if(--counter == 0) break;
		if(BNO080_dataAvailable())
		{
			//The IMU can report many different things. We must wait
			//for the ME Calibration Response Status byte to go to zero
			if(BNO080_calibrationComplete() == 1)
			{
				printf("\nCalibration data successfully stored\n");
				LL_TIM_CC_EnableChannel(TIM3, LL_TIM_CHANNEL_CH4);
				TIM3->PSC = 2000;
				HAL_Delay(300);
				TIM3->PSC = 1500;
				HAL_Delay(300);
				LL_TIM_CC_DisableChannel(TIM3, LL_TIM_CHANNEL_CH4);
				HAL_Delay(1000);
				break;
			}
		}
		HAL_Delay(10);
	}
	if(counter == 0)
	{
		printf("\nCalibration data failed to store. Please try again.\n");
		LL_TIM_CC_EnableChannel(TIM3, LL_TIM_CHANNEL_CH4);
		TIM3->PSC = 1500;
		HAL_Delay(300);
		TIM3->PSC = 2000;
		HAL_Delay(300);
		LL_TIM_CC_DisableChannel(TIM3, LL_TIM_CHANNEL_CH4);
		HAL_Delay(1000);
	}

	//BNO080_endCalibration(); //Turns off all calibration
	//In general, calibration should be left on at all times. The BNO080
	//auto-calibrates and auto-records cal data roughly every 5 minutes

	//Resets BNO080 to disable Game Rotation Vector and Magnetometer
	//Enables Rotation Vector
	BNO080_Initialization();
	//BNO080_enableRotationVector(2500); //Send data update every 2.5ms (400Hz)
	BNO080_enableGameRotationVector(2500);
}

void HAL_UART_RxCpltCallback(UART_HandleTypeDef *huart)
{
	static unsigned char cnt = 0;
	if(huart->Instance == USART1)
	{
		HAL_UART_Receive_IT(&huart1, &uart1_rx_data, 1);

		switch(cnt)
		{
		case 0:
			if(uart1_rx_data==0x47)
			{
				telemetry_rx_buf[cnt]=uart1_rx_data;
				cnt++;
			}
			break;
		case 1:
			if(uart1_rx_data==0x53)
			{
				telemetry_rx_buf[cnt]=uart1_rx_data;
				cnt++;
			}
			else
				cnt=0;
			break;
		case 19:
			telemetry_rx_buf[cnt]=uart1_rx_data;
			cnt=0;
			telemetry_rx_cplt_flag = 1;
			break;
		default:
			telemetry_rx_buf[cnt]=uart1_rx_data;
			cnt++;
			break;
		}
	}

}
void Encode_Msg_AHRS(unsigned char* telemetry_tx_buf)
{
	telemetry_tx_buf[0] = 0x46;
	telemetry_tx_buf[1] = 0x43;
	telemetry_tx_buf[2] = 0x10;

	telemetry_tx_buf[3] = (short)(BNO080_Roll*100);
	telemetry_tx_buf[4] = ((short)(BNO080_Roll*100))>>8;

	telemetry_tx_buf[5] = (short)(BNO080_Pitch*100);
	telemetry_tx_buf[6] = ((short)(BNO080_Pitch*100))>>8;

	telemetry_tx_buf[7] = (unsigned short)(BNO080_Yaw*100);
	telemetry_tx_buf[8] = ((unsigned short)(BNO080_Yaw*100))>>8;

	telemetry_tx_buf[9] = 0x00;
	telemetry_tx_buf[10] = 0x00;

	telemetry_tx_buf[11] = (short)((iBus.RH-1500)*0.07f*100);
	telemetry_tx_buf[12] = ((short)((iBus.RH-1500)*0.07f*100))>>8;

	telemetry_tx_buf[13] = (short)((iBus.RV-1500)*0.07f*100);
	telemetry_tx_buf[14] = ((short)((iBus.RV-1500)*0.07f*100))>>8;

	telemetry_tx_buf[15] = (unsigned short)((iBus.LH-1000)*0.36f*100);
	telemetry_tx_buf[16] = ((unsigned short)((iBus.LH-1000)*0.36f*100))>>8;

	telemetry_tx_buf[17] = 0x00;
	telemetry_tx_buf[18] = 0x00;

	telemetry_tx_buf[19] = 0xff;

	for(int i=0; i<19; i++)
	{
		telemetry_tx_buf[19] = telemetry_tx_buf[19] - telemetry_tx_buf[i];
	}
}

void Encode_Msg_PID_Gain(unsigned char* telemetry_tx_buf, unsigned char id, float p, float i, float d)
{
	telemetry_tx_buf[0] = 0x46;
	telemetry_tx_buf[1] = 0x43;
	telemetry_tx_buf[2] = id;

	//	  memcpy(telemetry_tx_buf[3], &p, 4);
	//	  memcpy(telemetry_tx_buf[7], &i, 4);
	//	  memcpy(telemetry_tx_buf[11], &d, 4);

	*(float*)&telemetry_tx_buf[3] = p;
	*(float*)&telemetry_tx_buf[7] = i;
	*(float*)&telemetry_tx_buf[11] = d;

	telemetry_tx_buf[15] = 0x00;
	telemetry_tx_buf[16] = 0x00;
	telemetry_tx_buf[17] = 0x00;
	telemetry_tx_buf[18] = 0x00;

	telemetry_tx_buf[19] = 0xff;

	for(int i=0; i<19; i++)
	{
		telemetry_tx_buf[19] = telemetry_tx_buf[19] - telemetry_tx_buf[i];
	}
}

void Receive_Pid_Gain(void)
{
	if(telemetry_rx_cplt_flag == 1) //Receive GCS Message
	{
		telemetry_rx_cplt_flag = 0;

		if(iBus.SwA == 1000) //Check FS-i6 Switch A
		{
			unsigned char chksum = 0xff;
			for(int i=0;i<19;i++) chksum = chksum - telemetry_rx_buf[i];
			if(chksum == telemetry_rx_buf[19])
			{
				LL_TIM_CC_EnableChannel(TIM3, LL_TIM_CHANNEL_CH4);
				TIM3->PSC = 1000;
				HAL_Delay(10);
				LL_TIM_CC_DisableChannel(TIM3, LL_TIM_CHANNEL_CH4);

				switch(telemetry_rx_buf[2]) //Check ID of GCS Message
				{
				case 0:
					roll.in.kp = *(float*)&telemetry_rx_buf[3];
					roll.in.ki = *(float*)&telemetry_rx_buf[7];
					roll.in.kd = *(float*)&telemetry_rx_buf[11];
					EP_PIDGain_Write(telemetry_rx_buf[2], roll.in.kp, roll.in.ki, roll.in.kd);
					EP_PIDGain_Read(telemetry_rx_buf[2], &roll.in.kp, &roll.in.ki, &roll.in.kd);
					Encode_Msg_PID_Gain(&telemetry_tx_buf[0], telemetry_rx_buf[2], roll.in.kp, roll.in.ki, roll.in.kd);
					HAL_UART_Transmit_IT(&huart1, &telemetry_tx_buf[0], 20);
					break;
				case 1:
					roll.out.kp = *(float*)&telemetry_rx_buf[3];
					roll.out.ki = *(float*)&telemetry_rx_buf[7];
					roll.out.kd = *(float*)&telemetry_rx_buf[11];
					EP_PIDGain_Write(telemetry_rx_buf[2], roll.out.kp, roll.out.ki, roll.out.kd);
					EP_PIDGain_Read(telemetry_rx_buf[2], &roll.out.kp, &roll.out.ki, &roll.out.kd);
					Encode_Msg_PID_Gain(&telemetry_tx_buf[0], telemetry_rx_buf[2], roll.out.kp, roll.out.ki, roll.out.kd);
					HAL_UART_Transmit_IT(&huart1, &telemetry_tx_buf[0], 20);
					break;
				case 2:
					pitch.in.kp = *(float*)&telemetry_rx_buf[3];
					pitch.in.ki = *(float*)&telemetry_rx_buf[7];
					pitch.in.kd = *(float*)&telemetry_rx_buf[11];
					EP_PIDGain_Write(telemetry_rx_buf[2], pitch.in.kp, pitch.in.ki, pitch.in.kd);
					EP_PIDGain_Read(telemetry_rx_buf[2], &pitch.in.kp, &pitch.in.ki, &pitch.in.kd);
					Encode_Msg_PID_Gain(&telemetry_tx_buf[0], telemetry_rx_buf[2], pitch.in.kp, pitch.in.ki, pitch.in.kd);
					HAL_UART_Transmit_IT(&huart1, &telemetry_tx_buf[0], 20);
					break;
				case 3:
					pitch.out.kp = *(float*)&telemetry_rx_buf[3];
					pitch.out.ki = *(float*)&telemetry_rx_buf[7];
					pitch.out.kd = *(float*)&telemetry_rx_buf[11];
					EP_PIDGain_Write(telemetry_rx_buf[2], pitch.out.kp, pitch.out.ki, pitch.out.kd);
					EP_PIDGain_Read(telemetry_rx_buf[2], &pitch.out.kp, &pitch.out.ki, &pitch.out.kd);
					Encode_Msg_PID_Gain(&telemetry_tx_buf[0], telemetry_rx_buf[2], pitch.out.kp, pitch.out.ki, pitch.out.kd);
					HAL_UART_Transmit_IT(&huart1, &telemetry_tx_buf[0], 20);
					break;
				case 4:
					yaw_heading.kp = *(float*)&telemetry_rx_buf[3];
					yaw_heading.ki = *(float*)&telemetry_rx_buf[7];
					yaw_heading.kd = *(float*)&telemetry_rx_buf[11];
					EP_PIDGain_Write(telemetry_rx_buf[2], yaw_heading.kp, yaw_heading.ki, yaw_heading.kd);
					EP_PIDGain_Read(telemetry_rx_buf[2], &yaw_heading.kp, &yaw_heading.ki, &yaw_heading.kd);
					Encode_Msg_PID_Gain(&telemetry_tx_buf[0], telemetry_rx_buf[2], yaw_heading.kp, yaw_heading.ki, yaw_heading.kd);
					HAL_UART_Transmit_IT(&huart1, &telemetry_tx_buf[0], 20);
					break;
				case 5:
					yaw_rate.kp = *(float*)&telemetry_rx_buf[3];
					yaw_rate.ki = *(float*)&telemetry_rx_buf[7];
					yaw_rate.kd = *(float*)&telemetry_rx_buf[11];
					EP_PIDGain_Write(telemetry_rx_buf[2], yaw_rate.kp, yaw_rate.ki, yaw_rate.kd);
					EP_PIDGain_Read(telemetry_rx_buf[2], &yaw_rate.kp, &yaw_rate.ki, &yaw_rate.kd);
					Encode_Msg_PID_Gain(&telemetry_tx_buf[0], telemetry_rx_buf[2], yaw_rate.kp, yaw_rate.ki, yaw_rate.kd);
					HAL_UART_Transmit_IT(&huart1, &telemetry_tx_buf[0], 20);
					break;
				case 0x10:
					switch(telemetry_rx_buf[3])
					{
					case 0:
						Encode_Msg_PID_Gain(&telemetry_tx_buf[0], 0, roll.in.kp, roll.in.ki, roll.in.kd);
						HAL_UART_Transmit(&huart1, &telemetry_tx_buf[0], 20, 10);
						break;
					case 1:
						Encode_Msg_PID_Gain(&telemetry_tx_buf[0], 1, roll.out.kp, roll.out.ki, roll.out.kd);
						HAL_UART_Transmit(&huart1, &telemetry_tx_buf[0], 20, 10);
						break;
					case 2:
						Encode_Msg_PID_Gain(&telemetry_tx_buf[0], 2, pitch.in.kp, pitch.in.ki, pitch.in.kd);
						HAL_UART_Transmit(&huart1, &telemetry_tx_buf[0], 20, 10);
						break;
					case 3:
						Encode_Msg_PID_Gain(&telemetry_tx_buf[0], 3, pitch.out.kp, pitch.out.ki, pitch.out.kd);
						HAL_UART_Transmit(&huart1, &telemetry_tx_buf[0], 20, 10);
						break;
					case 4:
						Encode_Msg_PID_Gain(&telemetry_tx_buf[0], 4, yaw_heading.kp, yaw_heading.ki, yaw_heading.kd);
						HAL_UART_Transmit(&huart1, &telemetry_tx_buf[0], 20, 10);
						break;
					case 5:
						Encode_Msg_PID_Gain(&telemetry_tx_buf[0], 5, yaw_rate.kp, yaw_rate.ki, yaw_rate.kd);
						HAL_UART_Transmit(&huart1, &telemetry_tx_buf[0], 20, 10);
						break;
					case 6:
						Encode_Msg_PID_Gain(&telemetry_tx_buf[0], 0, roll.in.kp, roll.in.ki, roll.in.kd);
						HAL_UART_Transmit(&huart1, &telemetry_tx_buf[0], 20, 10);
						Encode_Msg_PID_Gain(&telemetry_tx_buf[0], 1, roll.out.kp, roll.out.ki, roll.out.kd);
						HAL_UART_Transmit(&huart1, &telemetry_tx_buf[0], 20, 10);
						Encode_Msg_PID_Gain(&telemetry_tx_buf[0], 2, pitch.in.kp, pitch.in.ki, pitch.in.kd);
						HAL_UART_Transmit(&huart1, &telemetry_tx_buf[0], 20, 10);
						Encode_Msg_PID_Gain(&telemetry_tx_buf[0], 3, pitch.out.kp, pitch.out.ki, pitch.out.kd);
						HAL_UART_Transmit(&huart1, &telemetry_tx_buf[0], 20, 10);
						Encode_Msg_PID_Gain(&telemetry_tx_buf[0], 4, yaw_heading.kp, yaw_heading.ki, yaw_heading.kd);
						HAL_UART_Transmit(&huart1, &telemetry_tx_buf[0], 20, 10);
						Encode_Msg_PID_Gain(&telemetry_tx_buf[0], 5, yaw_rate.kp, yaw_rate.ki, yaw_rate.kd);
						HAL_UART_Transmit(&huart1, &telemetry_tx_buf[0], 20, 10);
						break;
					}

				}

			}

		}
	}
}
/* USER CODE END 4 */

void Error_Handler(void)
{
	__disable_irq();
	while (1)
	{
	}
}
